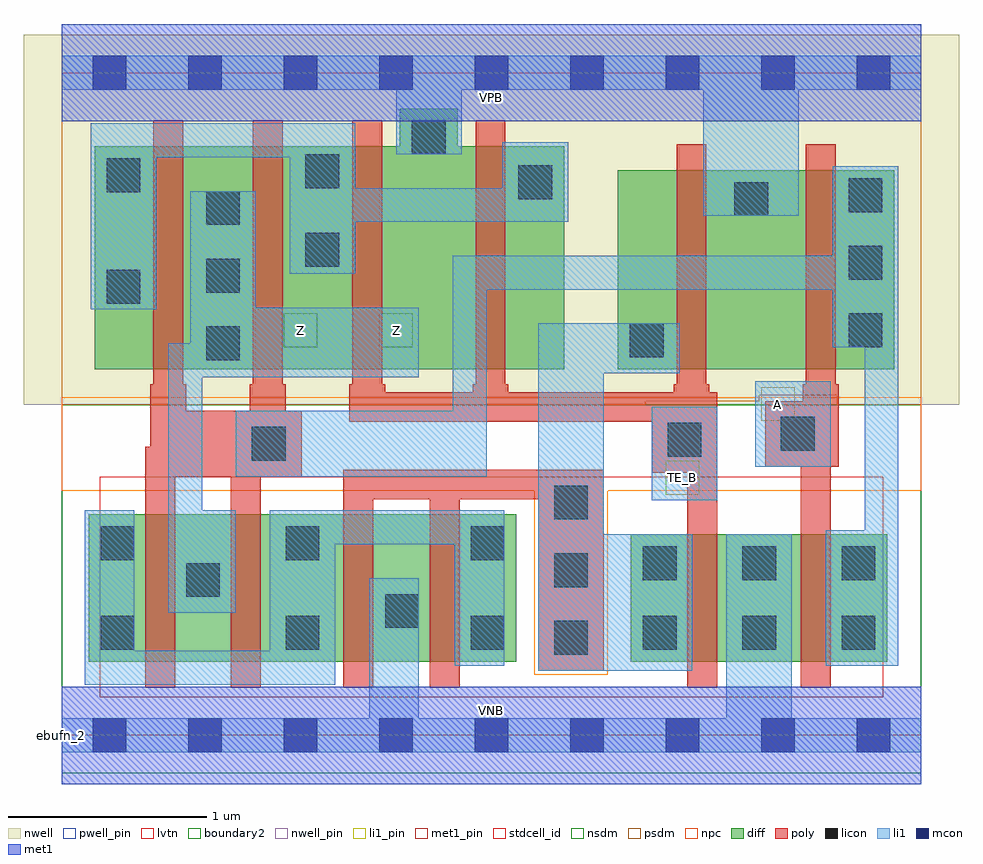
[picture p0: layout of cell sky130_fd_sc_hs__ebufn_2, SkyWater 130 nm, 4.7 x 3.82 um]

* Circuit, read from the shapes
.subckt sky130_fd_sc_hs__ebufn_2 A TE_B VGND VNB VPB VPWR Z
XM1 Z n1 n2 VNB sky130_fd_pr__nfet_01v8_lvt w=0.74 l=0.15 m=2
XM2 VGND n3 n2 VNB sky130_fd_pr__nfet_01v8_lvt w=0.74 l=0.15 m=2
XM3 VGND TE_B n3 VNB sky130_fd_pr__nfet_01v8_lvt w=0.64 l=0.15
XM4 n1 A VGND VNB sky130_fd_pr__nfet_01v8_lvt w=0.64 l=0.15
XM5 Z n1 n4 VPB sky130_fd_pr__pfet_01v8 w=1.12 l=0.15 m=2
XM6 VPWR TE_B n4 VPB sky130_fd_pr__pfet_01v8 w=1.12 l=0.15 m=2
XM7 VPWR TE_B n3 VPB sky130_fd_pr__pfet_01v8 w=1 l=0.15
XM8 n1 A VPWR VPB sky130_fd_pr__pfet_01v8 w=1 l=0.15
.ends

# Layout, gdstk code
import gdstk
lib = gdstk.Library(unit=1e-6, precision=1e-09)
def R(c, l, rs):  # rectangles x0, y0, x1, y1
    for r in rs: c.add(gdstk.rectangle(r[:2], r[2:], *l))
def A(c, l, x, y, w, h, nx, ny, dx, dy):  # array of equal rectangles
    R(c, l, [(x+i*dx, y+j*dy, x+i*dx+w, y+j*dy+h) for i in range(nx) for j in range(ny)])
def P(c, l, *ps):  # polygons
    for p in ps: c.add(gdstk.Polygon(p, *l))
nwell_pin = (64, 16)
nwell = (64, 20)
diff = (65, 20)
poly = (66, 20)
licon = (66, 44)
li1_pin = (67, 16)
li1 = (67, 20)
mcon = (67, 44)
met1_pin = (68, 16)
met1 = (68, 20)
stdcell_id = (81, 4)
nsdm = (93, 44)
psdm = (94, 20)
npc = (95, 20)
pwell_pin = (122, 16)
lvtn = (125, 44)
boundary2 = (236, 0)

sky130_fd_sc_hs__ebufn_2 = lib.new_cell('sky130_fd_sc_hs__ebufn_2')
R(sky130_fd_sc_hs__ebufn_2, nwell_pin, [(0,3.085,4.32,3.33)])
R(sky130_fd_sc_hs__ebufn_2, nwell, [(-0.19,1.66,4.51,3.52)])
R(sky130_fd_sc_hs__ebufn_2, diff, [(0.135,0.37,2.285,1.11), (2.86,0.37,4.15,1.01), (2.795,1.84,4.185,2.84)])
P(sky130_fd_sc_hs__ebufn_2, diff, [(2.525,2.96),(1.99,2.96),(1.99,3.15),(1.7,3.15),(1.7,2.96),(0.165,2.96),(0.165,1.84),(2.525,1.84)])
P(sky130_fd_sc_hs__ebufn_2, poly, [(1.205,1.63),(1.125,1.63),(1.125,1.765),(1.11,1.765),(1.11,3.09),(0.96,3.09),(0.96,1.765),(0.945,1.765),(0.945,1.63),(0.625,1.63),(0.625,1.765),(0.61,1.765),(0.61,3.09),(0.46,3.09),(0.46,1.765),(0.445,1.765),(0.445,1.45),(0.42,1.45),(0.42,0.24),(0.57,0.24),(0.57,1.3),(0.85,1.3),(0.85,0.24),(1,0.24),(1,1.3),(1.205,1.3)],
  [(2.725,1.335),(1.415,1.335),(1.415,0.24),(1.565,0.24),(1.565,1.185),(1.85,1.185),(1.85,0.24),(2,0.24),(2,1.185),(2.395,1.185),(2.395,0.325),(2.725,0.325)],
  [(3.295,1.725),(3.255,1.725),(3.255,1.765),(3.24,1.765),(3.24,2.97),(3.09,2.97),(3.09,1.765),(3.075,1.765),(3.075,1.725),(2.245,1.725),(2.245,1.765),(2.23,1.765),(2.23,3.09),(2.08,3.09),(2.08,1.765),(2.065,1.765),(2.065,1.725),(1.625,1.725),(1.625,1.765),(1.61,1.765),(1.61,3.09),(1.46,3.09),(1.46,1.765),(1.445,1.765),(1.445,1.575),(2.965,1.575),(2.965,1.32),(3.145,1.32),(3.145,0.24),(3.295,0.24)],
  [(3.905,1.765),(3.89,1.765),(3.89,2.97),(3.74,2.97),(3.74,1.765),(3.725,1.765),(3.725,1.68),(3.535,1.68),(3.535,1.35),(3.715,1.35),(3.715,0.24),(3.865,0.24),(3.865,1.35),(3.905,1.35)])
A(sky130_fd_sc_hs__ebufn_2, licon, 2.475, 0.405, 0.17, 0.17, 1, 3, 0, 0.34)
A(sky130_fd_sc_hs__ebufn_2, licon, 0.195, 0.43, 0.17, 0.17, 3, 2, 0.93, 0.45)
A(sky130_fd_sc_hs__ebufn_2, licon, 2.92, 0.43, 0.17, 0.17, 3, 2, 0.5, 0.35)
A(sky130_fd_sc_hs__ebufn_2, licon, 0.725, 1.885, 0.17, 0.17, 1, 3, 0, 0.34)
A(sky130_fd_sc_hs__ebufn_2, licon, 3.955, 1.95, 0.17, 0.17, 1, 3, 0, 0.34)
R(sky130_fd_sc_hs__ebufn_2, licon, [(1.625,0.54,1.795,0.71), (0.625,0.695,0.795,0.865), (0.955,1.38,1.125,1.55), (3.045,1.4,3.215,1.57), (3.615,1.43,3.785,1.6), (2.855,1.9,3.025,2.07), (0.225,2.17,0.395,2.34), (1.225,2.355,1.395,2.525), (3.38,2.61,3.55,2.78), (2.295,2.695,2.465,2.865), (0.225,2.73,0.395,2.9), (1.225,2.75,1.395,2.92), (1.76,2.92,1.93,3.09)])
R(sky130_fd_sc_hs__ebufn_2, li1_pin, [(3.035,1.21,3.205,1.38), (3.515,1.58,3.685,1.75), (1.115,1.95,1.285,2.12), (1.595,1.95,1.765,2.12)])
R(sky130_fd_sc_hs__ebufn_2, li1, [(2.965,1.18,3.295,1.65), (3.485,1.35,3.865,1.78)])
P(sky130_fd_sc_hs__ebufn_2, li1, [(0,-0.085),(0,0.085),(1.545,0.085),(1.545,0.79),(1.795,0.79),(1.795,0.085),(3.34,0.085),(3.34,1.01),(3.67,1.01),(3.67,0.085),(4.32,0.085),(4.32,-0.085)],
  [(0,3.245),(0,3.415),(4.32,3.415),(4.32,3.245),(3.705,3.245),(3.705,2.61),(3.225,2.61),(3.225,3.245),(2.01,3.245),(2.01,2.92),(1.68,2.92),(1.68,3.245)],
  [(0.975,2.15),(1.795,2.15),(1.795,1.8),(0.705,1.8),(0.705,1.13),(0.875,1.13),(0.875,0.615),(0.535,0.615),(0.535,1.97),(0.645,1.97),(0.645,2.735),(0.975,2.735)],
  [(4.035,1.03),(4.035,1.95),(3.875,1.95),(3.875,2.24),(2.135,2.24),(2.135,1.3),(0.875,1.3),(0.875,1.63),(1.965,1.63),(1.965,2.41),(3.875,2.41),(3.875,2.86),(4.205,2.86),(4.205,0.35),(3.84,0.35),(3.84,1.03)],
  [(2.725,1.01),(3.17,1.01),(3.17,0.325),(2.395,0.325),(2.395,2.07),(3.105,2.07),(3.105,1.82),(2.725,1.82)],
  [(1.145,2.32),(1.145,2.905),(0.475,2.905),(0.475,2.14),(0.145,2.14),(0.145,3.075),(1.475,3.075),(1.475,2.75),(2.215,2.75),(2.215,2.98),(2.545,2.98),(2.545,2.58),(1.475,2.58),(1.475,2.32)],
  [(1.045,0.425),(1.045,1.13),(2.225,1.13),(2.225,0.35),(1.975,0.35),(1.975,0.96),(1.375,0.96),(1.375,0.255),(0.115,0.255),(0.115,1.13),(0.365,1.13),(0.365,0.425)])
A(sky130_fd_sc_hs__ebufn_2, mcon, 0.155, -0.085, 0.17, 0.17, 9, 2, 0.48, 3.33)
R(sky130_fd_sc_hs__ebufn_2, met1_pin, [(0,0,4.32,0.245), (0,3.085,4.32,3.33)])
R(sky130_fd_sc_hs__ebufn_2, met1, [(0,-0.245,4.32,0.245), (0,3.085,4.32,3.575)])
R(sky130_fd_sc_hs__ebufn_2, stdcell_id, [(0,0,4.32,3.33)])
R(sky130_fd_sc_hs__ebufn_2, nsdm, [(0,-0.19,4.32,1.66)])
P(sky130_fd_sc_hs__ebufn_2, psdm, [(4.32,3.52),(0,3.52),(0,1.66),(2.935,1.66),(2.935,1.68),(3.505,1.68),(3.505,1.71),(3.895,1.71),(3.895,1.66),(4.32,1.66)])
P(sky130_fd_sc_hs__ebufn_2, npc, [(4.32,1.7),(0,1.7),(0,1.23),(2.375,1.23),(2.375,0.305),(2.745,0.305),(2.745,1.23),(4.32,1.23)])
R(sky130_fd_sc_hs__ebufn_2, pwell_pin, [(0,0,4.32,0.245)])
R(sky130_fd_sc_hs__ebufn_2, lvtn, [(0.19,0.19,4.13,1.3)])
R(sky130_fd_sc_hs__ebufn_2, boundary2, [(0,0,4.32,3.33)])
sky130_fd_sc_hs__ebufn_2.add(gdstk.Label('ebufn_2', (0,0), layer=83, texttype=44))
sky130_fd_sc_hs__ebufn_2.add(gdstk.Label('VNB', (2.16,0.123), layer=64, texttype=59))
sky130_fd_sc_hs__ebufn_2.add(gdstk.Label('VPB', (2.16,3.208), layer=64, texttype=5))
sky130_fd_sc_hs__ebufn_2.add(gdstk.Label('VPWR', (2.16,3.208), layer=68, texttype=5))
sky130_fd_sc_hs__ebufn_2.add(gdstk.Label('VGND', (2.16,0.123), layer=68, texttype=5))
sky130_fd_sc_hs__ebufn_2.add(gdstk.Label('Z', (1.2,2.035), layer=67, texttype=5))
sky130_fd_sc_hs__ebufn_2.add(gdstk.Label('Z', (1.68,2.035), layer=67, texttype=5))
sky130_fd_sc_hs__ebufn_2.add(gdstk.Label('TE_B', (3.12,1.295), layer=67, texttype=5))
sky130_fd_sc_hs__ebufn_2.add(gdstk.Label('A', (3.6,1.665), layer=67, texttype=5))

lib.write_gds('sky130_fd_sc_hs__ebufn_2.gds')
